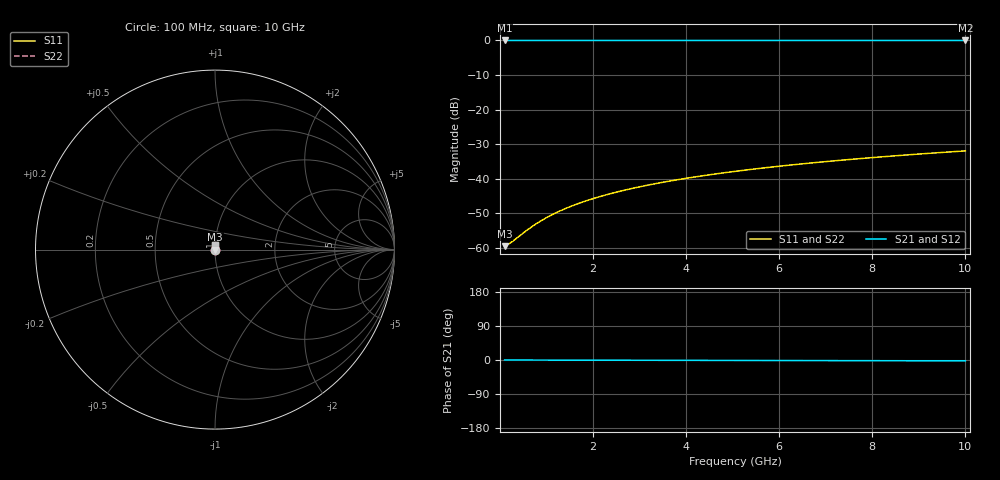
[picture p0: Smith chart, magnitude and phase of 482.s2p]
# Hz S RI R 50.00
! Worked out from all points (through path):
!   100 points, 100 MHz to 10 GHz, reference 50 ohm
!   highest |S21| = -0.01 dB at 100 MHz (marker M1); lowest = 0.0 dB at 10 GHz (marker M2)
!   lowest |S11| = -59.5 dB at 100 MHz (marker M3), VSWR 1.00, Z = 50.1 + j0.0252 ohm
!   |S11| at or under -10 dB: start of sweep to end of sweep
!   |S22| runs from -59.5 to -32.0 dB; largest |S21 - S12| = 1e-13
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1e8  0.00103 0.000251  0.999 -0.000399  0.999 -0.000399  0.00103 0.000251
2e8  0.00103 0.000503  0.999 -0.000799  0.999 -0.000799  0.00103 0.000503
3e8  0.00104 0.000754  0.999 -0.0012  0.999 -0.0012  0.00104 0.000754
6e8  0.00105 0.00151  0.9989 -0.0024  0.9989 -0.0024  0.00105 0.00151
7e8  0.00106 0.00176  0.9989 -0.0028  0.9989 -0.0028  0.00106 0.00176
8e8  0.00106 0.00201  0.9989 -0.0032  0.9989 -0.0032  0.00106 0.00201
1e9  0.00107 0.00251  0.9989 -0.00399  0.9989 -0.00399  0.00107 0.00251
1.2e9  0.00108 0.00302  0.9989 -0.00479  0.9989 -0.00479  0.00108 0.00302
1.4e9  0.00109 0.00352  0.9989 -0.00559  0.9989 -0.00559  0.00109 0.00352
1.6e9  0.0011 0.00402  0.9989 -0.00639  0.9989 -0.00639  0.0011 0.00402
1.8e9  0.0011 0.00452  0.9989 -0.00719  0.9989 -0.00719  0.0011 0.00452
2.1e9  0.00112 0.00528  0.9989 -0.00839  0.9989 -0.00839  0.00112 0.00528
2.5e9  0.00114 0.00628  0.9988 -0.00999  0.9988 -0.00999  0.00114 0.00628
2.9e9  0.00117 0.00729  0.9988 -0.0116  0.9988 -0.0116  0.00117 0.00729
3.4e9  0.00121 0.00855  0.9988 -0.0136  0.9988 -0.0136  0.00121 0.00855
4.2e9  0.00128 0.0106  0.9987 -0.0168  0.9987 -0.0168  0.00128 0.0106
5.1e9  0.00137 0.0128  0.9986 -0.0204  0.9986 -0.0204  0.00137 0.0128
5.9e9  0.00146 0.0148  0.9985 -0.0236  0.9985 -0.0236  0.00146 0.0148
6.7e9  0.00157 0.0168  0.9984 -0.0268  0.9984 -0.0268  0.00157 0.0168
7.5e9  0.00169 0.0189  0.9982 -0.03  0.9982 -0.03  0.00169 0.0189
8.4e9  0.00185 0.0211  0.9981 -0.0336  0.9981 -0.0336  0.00185 0.0211
1e10  0.00216 0.0252  0.9977 -0.04  0.9977 -0.04  0.00216 0.0252
